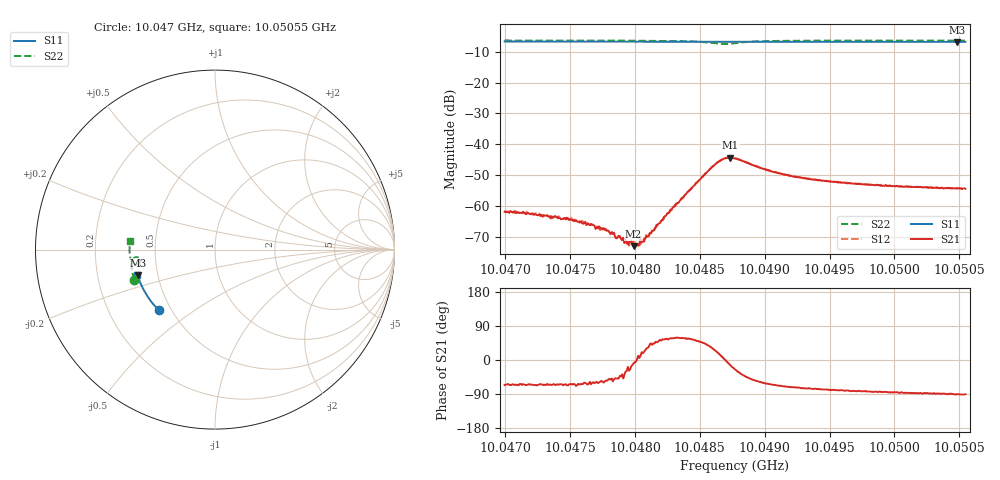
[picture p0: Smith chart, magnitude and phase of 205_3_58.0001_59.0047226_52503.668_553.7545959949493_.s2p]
#  HZ  S  RI  R  50.00
! Rohde & Schwarz Vector Network Analyzer
! Rohde-Schwarz,ZNB20-2Port,1311601062101988,3.16
! Created: UTC 3/21/2024, 12:59:25 AM
! freq[Hz]  re:S11  im:S11  re:S21  im:S21  re:S12  im:S12  re:S22  im:S22
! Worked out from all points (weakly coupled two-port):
!   401 points, 10.047 GHz to 10.05055 GHz, reference 50 ohm
!   highest |S21| = -44.31 dB at 10.04874 GHz (marker M1); lowest = -72.9 dB at 10.04799 GHz (marker M2)
!   lowest |S11| = -6.9 dB at 10.05048 GHz (marker M3), VSWR 2.66, Z = 19.2 - j6.95 ohm
!   |S11| at or under -10 dB: nowhere
!   |S22| runs from -7.5 to -6.4 dB; largest |S21 - S12| = 0.00043
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1.0046995e10  -0.3124 -0.3384  0.000329 -0.000743  0.000379 -0.000731  -0.4488 -0.1689
1.0047244e10  -0.3238 -0.3267  0.000281 -0.000659  0.000357 -0.000674  -0.4541 -0.1526
1.0047315e10  -0.3272 -0.3231  0.000286 -0.000642  0.000326 -0.000592  -0.4555 -0.1478
1.0047492e10  -0.3352 -0.3144  0.000261 -0.000537  0.000308 -0.000544  -0.4587 -0.1356
1.004759e10  -0.3393 -0.3096  0.000234 -0.000481  0.000321 -0.000475  -0.4605 -0.1288
1.0047777e10  -0.3471 -0.3  0.000234 -0.000332  0.000277 -0.00032  -0.4631 -0.1153
1.0047945e10  -0.3542 -0.2913  0.000232 -7.57e-05  0.000236 -0.000126  -0.4651 -0.1026
1.004799e10  -0.3559 -0.2889  0.000223 -3.4e-05  0.000265 -4.66e-05  -0.4655 -0.099
1.0048007e10  -0.3567 -0.288  0.000233 -1.94e-05  0.000246 -4.54e-07  -0.4655 -0.0974
1.0048034e10  -0.3577 -0.2868  0.00025 2.36e-05  0.000225 5.97e-05  -0.4657 -0.0952
1.0048087e10  -0.3599 -0.2838  0.000275 0.000158  0.000294 0.00017  -0.4661 -0.091
1.0048185e10  -0.3635 -0.2787  0.000334 0.00041  0.000298 0.000414  -0.466 -0.0822
1.0048291e10  -0.3677 -0.2729  0.000514 0.00081  0.000466 0.000855  -0.465 -0.0717
1.0048593e10  -0.3784 -0.256  0.00365 0.00227  0.00352 0.00249  -0.435 -0.0426
1.0048673e10  -0.3811 -0.2517  0.00564 0.000787  0.00563 0.00115  -0.4182 -0.0549
1.0048735e10  -0.3831 -0.2485  0.00591 -0.00147  0.00601 -0.00109  -0.4193 -0.0728
1.0048771e10  -0.3844 -0.2465  0.00538 -0.0025  0.00558 -0.00217  -0.426 -0.0798
1.0049064e10  -0.3944 -0.23  0.0015 -0.00327  0.00171 -0.00322  -0.4661 -0.0626
1.0049366e10  -0.4037 -0.2123  0.000646 -0.00265  0.000814 -0.00264  -0.4741 -0.0353
1.0049961e10  -0.4195 -0.1765  0.000165 -0.00214  0.000302 -0.00214  -0.4765 0.00908
1.0050484e10  -0.4309 -0.1437  -9.03e-06 -0.00195  8.43e-05 -0.00194  -0.4744 0.0453
1.0050546e10  -0.4321 -0.1402  -7.93e-06 -0.00191  5.61e-05 -0.00194  -0.474 0.0495
